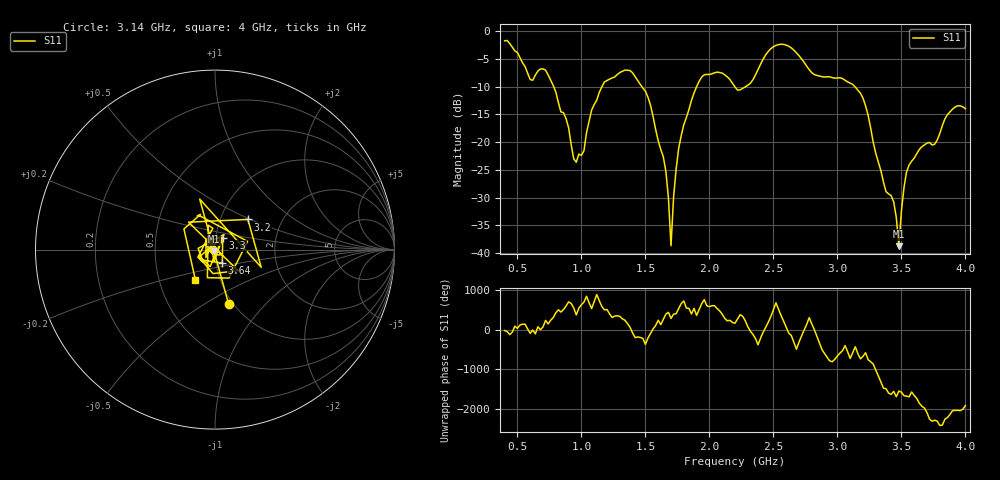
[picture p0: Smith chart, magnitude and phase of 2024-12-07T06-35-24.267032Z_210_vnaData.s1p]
!Created with skrf (http://scikit-rf.org).
# Hz S RI R 50.0
!freq ReS11 ImS11
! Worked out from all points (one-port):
!   181 points, 400 MHz to 4 GHz, reference 50 ohm
!   lowest |S11| = -38.8 dB at 3.48 GHz (marker M1), VSWR 1.02, Z = 49.5 - j1.03 ohm
!   |S11| at or under -10 dB: 783.6 MHz to 1.16 GHz (376.8 MHz wide, 38.8 % of centre); 1.472 GHz to 1.9 GHz (427.6 MHz wide, 25.4 % of centre); 3.136 GHz to end of sweep (the widest 3 of 4)
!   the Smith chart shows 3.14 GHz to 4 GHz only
!   S11 on the Smith chart (normalised r, x): 3.14 GHz: 0.95, -0.64; 3.2 GHz: 1.35, +0.48; 3.3 GHz: 1.08, +0.14; 3.64 GHz: 1.07, -0.16; 4 GHz: 0.76, -0.27
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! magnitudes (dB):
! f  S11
! 400 MHz  -1.7
! 600 MHz  -8.7
! 720 MHz  -7.0
! 860 MHz  -14.7
! 960 MHz  -23.6
! 1.16 GHz  -10.0
! 1.3 GHz  -7.5
! 1.4 GHz  -7.5
! 1.54 GHz  -13.3
! 1.66 GHz  -25.3
! 1.7 GHz  -38.7
! 1.72 GHz  -30.0
! 1.76 GHz  -21.1
! 1.94 GHz  -8.3
! 2.2 GHz  -10.1
! 2.32 GHz  -9.4
! 2.5 GHz  -2.8
! 2.66 GHz  -3.4
! 3.1 GHz  -9.4
! 3.14 GHz  -10.1
! 3.2 GHz  -12.1
! 3.3 GHz  -22.0
! 3.44 GHz  -30.8
! 3.48 GHz  -38.8
! 3.52 GHz  -28.2
! 3.56 GHz  -24.1
! 3.64 GHz  -21.3
! 4 GHz  -14.0
